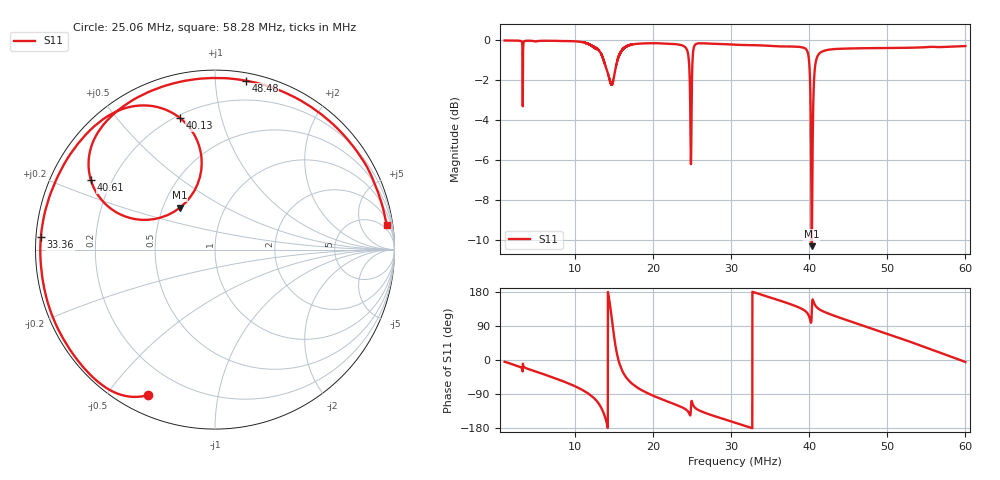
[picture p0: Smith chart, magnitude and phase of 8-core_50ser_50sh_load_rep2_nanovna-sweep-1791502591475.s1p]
! NanoVNA Web complex sweep
! Processing: unaveraged complex samples; linear segment spacing; no smoothing
# Hz S RI R 50
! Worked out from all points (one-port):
!   5050 points, 1 MHz to 60 MHz, reference 50 ohm
!   lowest |S11| = -10.3 dB at 40.33 MHz (marker M1), VSWR 1.88, Z = 30.6 + j15.8 ohm
!   |S11| at or under -10 dB: 40.31417 MHz to 40.34727 MHz (33.09 kHz wide, 0.0821 % of centre)
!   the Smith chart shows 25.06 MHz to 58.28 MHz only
!   S11 on the Smith chart (normalised r, x): 25.06 MHz: 0.08, -0.64; 33.36 MHz: 0.01, +0.04; 40.13 MHz: 0.21, +0.74; 40.61 MHz: 0.12, +0.26; 48.48 MHz: 0.05, +1.20; 58.28 MHz: 3, +13
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1000000  0.9968 -0.0797
8384920  0.569 -0.8185
1.264994e7  -0.2458 -0.9266
1.350295e7  -0.6072 -0.6825
1.413394e7  -0.8291 -0.1268
1.448449e7  -0.6653 0.4249
1.488178e7  0.0898 0.7854
1.530244e7  0.7864 0.3729
1.575816e7  0.9037 -0.2017
1.654105e7  0.6799 -0.6859
1.777966e7  0.3392 -0.9199
2.313139e7  -0.4851 -0.8491
2.44518e7  -0.6604 -0.6594
2.505942e7  -0.3722 -0.81
2.630971e7  -0.7155 -0.6756
3.050462e7  -0.9458 -0.2415
3.335576e7  -0.97 0.0702
3.787786e7  -0.7931 0.5506
3.981757e7  -0.4942 0.7899
4.013306e7  -0.1969 0.7346
4.033171e7  -0.1953 0.2337
4.061215e7  -0.691 0.3858
4.168717e7  -0.594 0.7269
4.52511e7  -0.201 0.9335
4.847616e7  0.171 0.9417
5.262433e7  0.613 0.7372
5.827987e7  0.9558 0.1355
5.999756e7  0.9642 -0.0893
